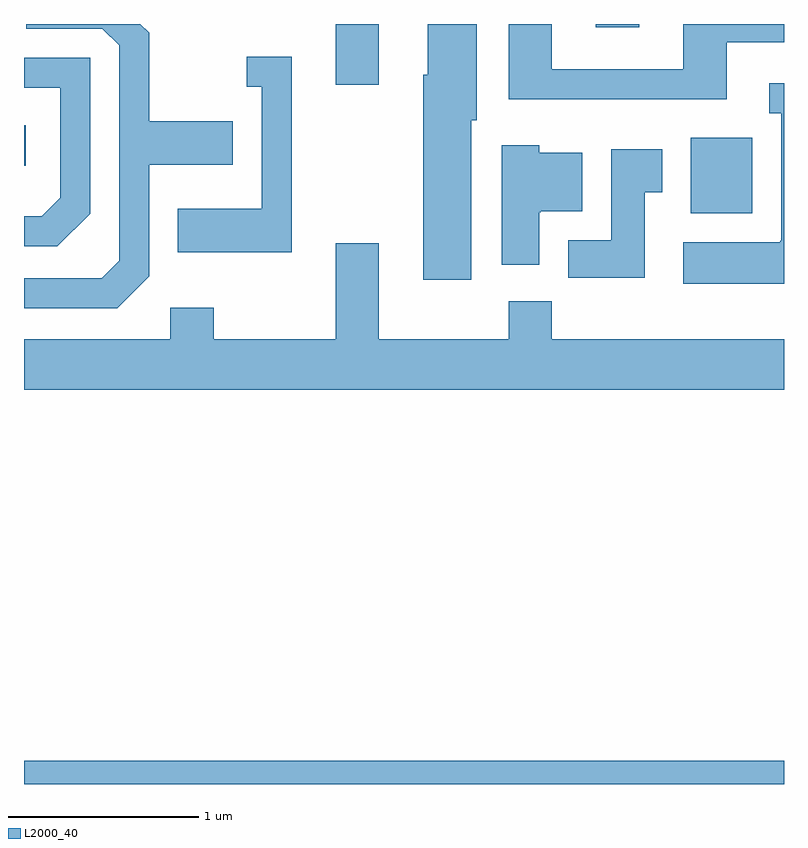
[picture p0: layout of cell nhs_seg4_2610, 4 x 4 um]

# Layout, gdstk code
import gdstk
lib = gdstk.Library(unit=1e-6, precision=1e-09)
def R(c, l, rs):  # rectangles x0, y0, x1, y1
    for r in rs: c.add(gdstk.rectangle(r[:2], r[2:], *l))
def P(c, l, *ps):  # polygons
    for p in ps: c.add(gdstk.Polygon(p, *l))
L2000_40 = (2000, 40)

nhs_seg4_2610 = lib.new_cell('nhs_seg4_2610')
R(nhs_seg4_2610, L2000_40, [(261.611,1305.982,265.611,1306.104), (265.121,1308.986,265.444,1309.384), (261.611,1309.236,261.619,1309.449), (263.251,1309.661,263.479,1309.982), (264.621,1309.966,264.849,1309.982)])
P(nhs_seg4_2610, L2000_40, [(263.964,1309.476),(263.994,1309.476),(263.994,1309.982),(263.736,1309.982),(263.736,1309.714),(263.711,1309.714),(263.711,1308.636),(263.964,1308.636)],
  [(265.309,1309.886),(265.611,1309.886),(265.611,1309.982),(265.081,1309.982),(265.081,1309.744),(264.389,1309.744),(264.389,1309.982),(264.161,1309.982),(264.161,1309.586),(265.309,1309.586)],
  [(262.269,1308.654),(262.269,1309.241),(262.709,1309.241),(262.709,1309.469),(262.269,1309.469),(262.269,1309.937),(262.224,1309.982),(261.623,1309.982),(261.623,1309.956),(262.024,1309.956),(262.111,1309.869),(262.111,1308.737),(262.019,1308.644),(261.611,1308.644),(261.611,1308.486),(262.102,1308.486)],
  [(263.019,1309.809),(262.783,1309.809),(262.783,1309.651),(262.861,1309.651),(262.861,1309.009),(262.421,1309.009),(262.421,1308.781),(263.019,1308.781)],
  [(261.959,1308.984),(261.959,1309.804),(261.611,1309.804),(261.611,1309.646),(261.801,1309.646),(261.801,1309.067),(261.704,1308.969),(261.611,1308.969),(261.611,1308.811),(261.787,1308.811)],
  [(265.611,1309.669),(265.533,1309.669),(265.533,1309.511),(265.596,1309.511),(265.596,1308.84),(265.59,1308.84),(265.59,1308.834),(265.081,1308.834),(265.081,1308.616),(265.611,1308.616)],
  [(264.324,1308.99),(264.33,1308.99),(264.33,1308.996),(264.549,1308.996),(264.549,1309.304),(264.324,1309.304),(264.324,1309.344),(264.126,1309.344),(264.126,1308.716),(264.324,1308.716)],
  [(264.879,1309.096),(264.969,1309.096),(264.969,1309.324),(264.701,1309.324),(264.701,1308.844),(264.476,1308.844),(264.476,1308.646),(264.879,1308.646)],
  [(265.611,1308.324),(264.389,1308.324),(264.389,1308.524),(264.161,1308.524),(264.161,1308.324),(263.479,1308.324),(263.479,1308.829),(263.251,1308.829),(263.251,1308.324),(262.609,1308.324),(262.609,1308.489),(262.381,1308.489),(262.381,1308.324),(261.611,1308.324),(261.611,1308.056),(265.611,1308.056)])

lib.write_gds('nhs_seg4_2610.gds')
